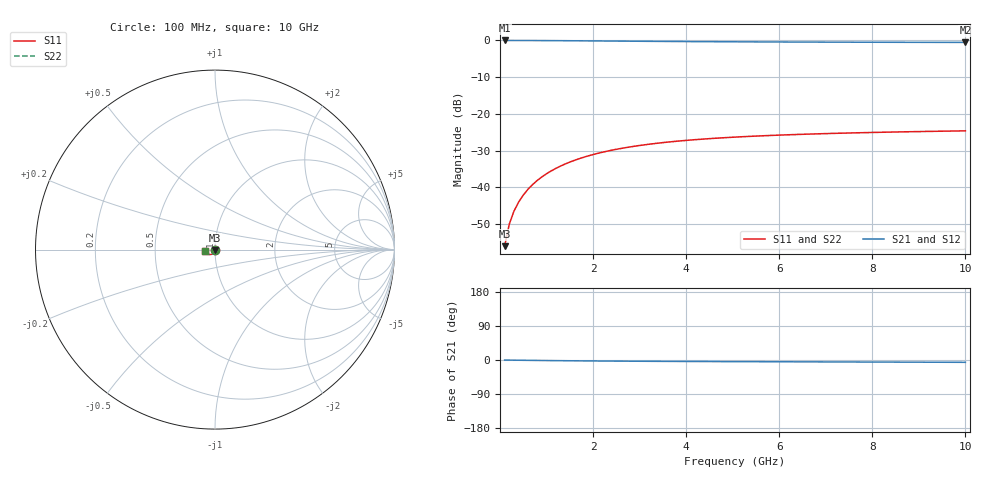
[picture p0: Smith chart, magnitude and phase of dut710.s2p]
! Touchstone file exported from HFSS 2024.1.0
!  File:  C:/UserFiles/LocalFiles/RDL_TSV_Batchsim/temp_TSV1_710_1779867226.aedt
!  Generated:  03:38:43 PM May 27, 2026
!  Design:  TSV1
!  Project:  temp_TSV1_710_1779867226
!  Setup:  Setup1
!  Solution:  Sweep
! Variables:
!  dtsv = 10.4um
!  hbump = 3um
!  htsv = 97.91um
!  lrdl = 252.1521522um
!  p = 40
!  p1 = 46.63um
!  t = 500um
!  trdl = 3um
!  wrdl = 24.89489489um
# GHz S MA R 50.000000
! Terminal data exported
! Port[1] = TSV22_T1
! Port[2] = TSV22_T2
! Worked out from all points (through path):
!   100 points, 100 MHz to 10 GHz, reference 50 ohm
!   highest |S21| = 0.00 dB at 100 MHz (marker M1); lowest = -0.5 dB at 10 GHz (marker M2)
!   lowest |S11| = -56.1 dB at 100 MHz (marker M3), VSWR 1.00, Z = 50 - j0.157 ohm
!   |S11| at or under -10 dB: start of sweep to end of sweep
!   |S22| runs from -56.1 to -24.6 dB; largest |S21 - S12| = 1e-14
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0.1  0.001572 -86.0  0.9998 -0.1  0.9998 -0.1  0.001572 -86.0
! Gamma 0 0 0 0
! Port Impedance 50 0 50 0
0.2  0.003133 -90.4  0.9996 -0.3  0.9996 -0.3  0.003133 -90.4
0.3  0.004696 -92.9  0.9994 -0.4  0.9994 -0.4  0.004696 -92.9
0.4  0.006253 -95.0  0.9991 -0.6  0.9991 -0.6  0.006253 -95.0
0.5  0.0078 -96.9  0.9986 -0.7  0.9986 -0.7  0.0078 -96.9
0.6  0.009333 -98.7  0.9981 -0.9  0.9981 -0.9  0.009333 -98.7
0.7  0.01085 -100.5  0.9976 -1.0  0.9976 -1.0  0.01085 -100.5
0.8  0.01234 -102.2  0.9969 -1.1  0.9969 -1.1  0.01234 -102.2
0.9  0.01381 -103.9  0.9962 -1.3  0.9962 -1.3  0.01381 -103.9
1.1  0.01666 -107.2  0.9947 -1.5  0.9947 -1.5  0.01666 -107.2
1.4  0.0207 -111.9  0.9919 -1.9  0.9919 -1.9  0.0207 -111.9
1.6  0.02323 -114.9  0.9899 -2.1  0.9899 -2.1  0.02323 -114.9
1.8  0.02561 -117.7  0.9878 -2.3  0.9878 -2.3  0.02561 -117.7
2.1  0.02892 -121.8  0.9846 -2.6  0.9846 -2.6  0.02892 -121.8
2.5  0.03284 -126.7  0.9802 -2.9  0.9802 -2.9  0.03284 -126.7
2.9  0.03625 -131.3  0.976 -3.2  0.976 -3.2  0.03625 -131.3
3.4  0.03987 -136.4  0.9711 -3.5  0.9711 -3.5  0.03987 -136.4
4.2  0.04447 -143.5  0.9643 -3.9  0.9643 -3.9  0.04447 -143.5
5.1  0.04835 -150.1  0.9581 -4.3  0.9581 -4.3  0.04834 -150.1
6.7  0.05309 -159.5  0.95 -4.9  0.95 -4.9  0.05309 -159.5
8.4  0.05639 -167.3  0.9442 -5.5  0.9442 -5.5  0.05639 -167.3
10  0.05862 -173.3  0.9404 -6.1  0.9404 -6.1  0.05862 -173.3
